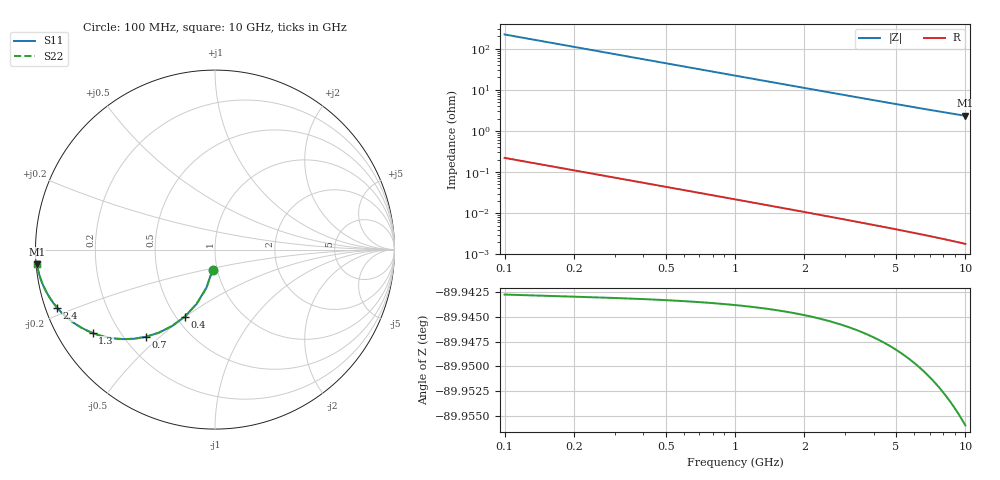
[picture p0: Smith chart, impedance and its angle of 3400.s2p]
# Hz S RI R 50.00
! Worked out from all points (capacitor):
!   100 points, 100 MHz to 10 GHz, reference 50 ohm
!   read as one part in shunt: C = 7.18 pF near 100 MHz
!   lowest |Z| = 2.34 ohm at 10 GHz (marker M1)
!   S11 on the Smith chart (normalised r, x): 100 MHz: 0.95, -0.21; 400 MHz: 0.55, -0.50; 700 MHz: 0.29, -0.45; 1.3 GHz: 0.10, -0.31; 2.4 GHz: 0.03, -0.18; 10 GHz: 0.00, -0.04
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1e8  -0.0126 -0.1113  0.9873 -0.1114  0.9873 -0.1114  -0.0126 -0.1113
2e8  -0.0486 -0.2144  0.9514 -0.2146  0.9514 -0.2146  -0.0486 -0.2144
3e8  -0.1029 -0.3032  0.8971 -0.3035  0.8971 -0.3035  -0.1029 -0.3032
4e8  -0.1692 -0.3743  0.8307 -0.3747  0.8307 -0.3747  -0.1692 -0.3743
5e8  -0.2413 -0.4271  0.7586 -0.4277  0.7586 -0.4277  -0.2413 -0.4271
6e8  -0.314 -0.4633  0.6859 -0.464  0.6859 -0.464  -0.314 -0.4633
7e8  -0.3838 -0.4854  0.6161 -0.4862  0.6161 -0.4862  -0.3838 -0.4854
8e8  -0.4485 -0.4964  0.5514 -0.4973  0.5514 -0.4973  -0.4485 -0.4964
1e9  -0.5595 -0.4954  0.4405 -0.4965  0.4405 -0.4965  -0.5595 -0.4954
1.1e9  -0.6057 -0.4876  0.3942 -0.4888  0.3942 -0.4888  -0.6057 -0.4876
1.3e9  -0.682 -0.4645  0.318 -0.4659  0.318 -0.4659  -0.682 -0.4645
1.5e9  -0.7405 -0.437  0.2595 -0.4387  0.2595 -0.4387  -0.7405 -0.437
1.8e9  -0.8042 -0.3953  0.1958 -0.3973  0.1958 -0.3973  -0.8042 -0.3953
2.1e9  -0.8481 -0.3572  0.1518 -0.3595  0.1518 -0.3595  -0.8481 -0.3572
2.4e9  -0.8794 -0.3238  0.1206 -0.3265  0.1206 -0.3265  -0.8794 -0.3238
2.9e9  -0.9141 -0.2781  0.0859 -0.2813  0.0859 -0.2813  -0.9141 -0.2781
3.4e9  -0.9359 -0.2424  0.064 -0.2462  0.064 -0.2462  -0.9359 -0.2424
4.2e9  -0.957 -0.1998  0.0429 -0.2045  0.0429 -0.2045  -0.957 -0.1998
5.1e9  -0.9704 -0.1659  0.0295 -0.1716  0.0295 -0.1716  -0.9704 -0.1659
6.7e9  -0.9827 -0.126  0.0172 -0.1336  0.0172 -0.1336  -0.9827 -0.126
8.4e9  -0.989 -0.099  0.011 -0.1086  0.011 -0.1086  -0.989 -0.099
1e10  -0.9922 -0.0812  0.00767 -0.0928  0.00767 -0.0928  -0.9922 -0.0812
